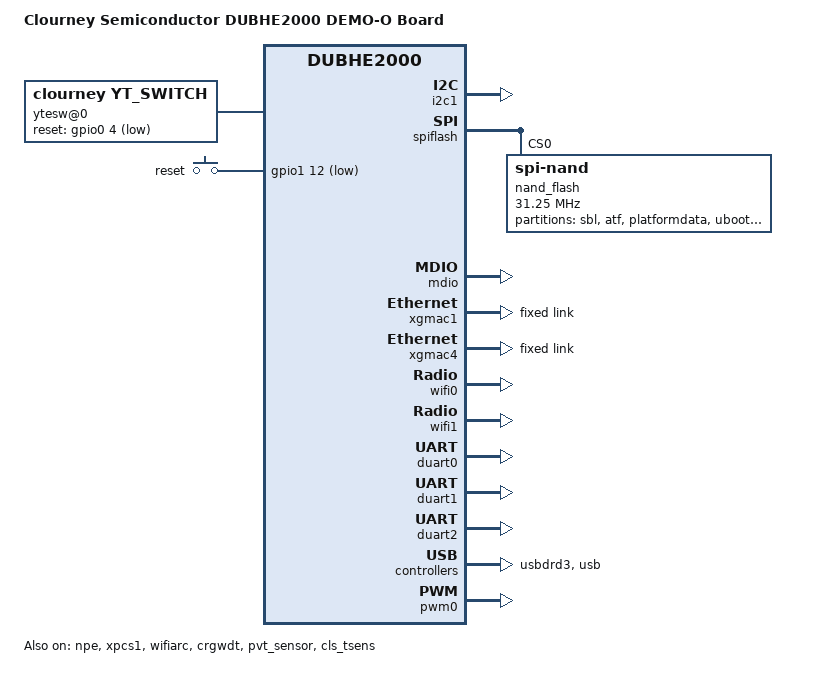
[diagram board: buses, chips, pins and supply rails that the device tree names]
// SPDX-License-Identifier: (GPL-2.0+ OR MIT)
/*
 * Device Tree Include file for Clourney dubhe2000 family SoC.
 *
 * Copyright (C) 2022-2024 Clourney Semiconductor - All Rights Reserved.
 *
 */

/dts-v1/;
#include "clourney-dubhe2000.dtsi"

/ {
	model = "Clourney Semiconductor DUBHE2000 DEMO-O Board";
	compatible = "clsemi,dubhe2000-demo-o", "clsemi,dubhe2000";

	aliases {
		serial0 = &duart1;
		serial1 = &duart2;
		serial2 = &duart0;
		spinand = &spiflash;
		pwm0 = &pwm0;
		pwm1 = &pwm1;
		pwm2 = &pwm2;
		pwm3 = &pwm3;
		pwm4 = &pwm4;
		pwm5 = &pwm5;
		led-boot = &led_system;
		led-failsafe = &led_system;
		led-running = &led_system;
		led-upgrade = &led_system;
	};

	chosen {
		stdout-path = "serial0:115200n8";
	};
	ytesw@0 {
		compatible = "clourney,yt_switch";
		mdio-bus = <&mdio>;
		port-isolation="oooooox";
		/* rgmii. txc delay = txc_2ns_en * 2ns + txc_delay * 0.15ns;rxc delay = rxc_delay * 0.15ns */
		rgmii-rxc_delay = <1>;
		rgmii-txc_delay = <2>;
		rgmii-txc_2ns_en = <1>;
		reset-gpio = <&gpio0 4 GPIO_ACTIVE_LOW>;
	};


};


&i2c1 {
        label = "I2C1";
        status = "okay";
};

&spiflash {
	rx-sample-delay-ns = <8>;
	status = "ok";

	nand_flash: flash@0 {
		compatible = "spi-nand";
		/* Avoid interference with 5G and 2.4G, not setting clk to  41.67MHz  */
		spi-max-frequency = <31250000>;
		reg = <0>;
		#address-cells = <1>;
		#size-cells = <1>;

		/*0.5MB*/
		partition@0 {
			label = "sbl";
			reg = <0x0 0x80000>;
		};

		/*0.5MB*/
		partition@1 {
			label = "atf";
			reg = <0x80000 0x80000>;
		};

		/*1MB*/
		partition@2 {
			label = "platformdata";
			reg = <0x100000 0x100000>;
		};

		/*2MB*/
		partition@3 {
			label = "uboot";
			reg = <0x200000 0x200000>;
		};

		/*1MB*/
		partition@4 {
			label = "caldata";
			reg = <0x400000 0x100000>;
		};

		/*1MB*/
		partition@5 {
			label = "caldata2";
			reg = <0x500000 0x100000>;
		};

		/*1.5MB*/
                partition@6 {
                        label = "ubootenv";
                        reg = <0x600000 0x180000>;
                };

		/*1.5MB*/
                partition@7 {
                        label = "boarddata";
                        reg = <0x780000 0x180000>;
                };

		/*32MB*/
                partition@8 {
                        label = "fw1";
                        reg = <0x900000 0x2000000>;
                };

		/*32MB*/
                partition@9 {
                        label = "fw2";
                        reg = <0x2900000 0x2000000>;
                };

		/*55MB*/
                partition@10 {
                        label = "reserved";
                        reg = <0x4900000 0x3700000>;
                };
	};
};

&npe  {
	status = "ok";
	switch-pause = <4>;
	mdio: mdio {
		compatible = "clourney,mdio";
		#address-cells = <1>;
		#size-cells = <0>;
		device_type = "mdio";
		id = <0>;
		clk_csr = <1>;
		status = "okay";
		regs,phys_reset_init = <0x90410054 0xFFFF 0x6008>;
	};
};
&xpcs0 {
	status = "disabled";
};

&xpcs1 {
	phy-mode = "2500base-x";
	status = "okay";
};

&xgmac0 {
	status = "disabled";
};

&xgmac1 {
	mode = "non-rgmii";
	mac-address = [a0 c0 ab 39 cc f3];
	max-speed = <2500>;
	status = "okay";
	fixed-link {
		speed = <2500>;
		full-duplex;
		pause;
	};
};

&xgmac2 {
        status = "disabled";
};

&xgmac3 {
        status = "disabled";
};

&xgmac4 {
	mode = "rgmii";
	max-speed = <1000>;
	rgmii-rx-delay = <0>;
	rgmii-tx-delay = <2>;
	status = "okay";
	fixed-link {
		speed = <1000>;
		full-duplex;
		pause;
	};
};

&wifi0 { status = "ok"; };

&wifi1 { status = "ok"; };

&wifiarm { status = "disabled"; };

&wifiarc { status = "ok"; };

&crgwdt {
        timeout-sec = <WDT_TIMEOUT_S>;
        status = "ok";
};

//新增SLK-R710 
&duart0 {
	status = "ok";
};
&duart1 {
	status = "ok";
};

&duart2 {
	status = "ok";
};

&gpio_keys {
	reset {
		label = "reset";
		gpios = <&gpio1 12 GPIO_ACTIVE_LOW>; /* gpio1->32, 32 + 12 = 44(GPIO_DR3) */
		linux,code = <KEY_RESTART>;
	};
};

&gpio_leds {
	status = "ok";

	led_system: system {
		label = "led_system";
		gpios = <&gpio1 0 GPIO_ACTIVE_LOW>; /* gpio1->32, 32 + 0 = 32 (GPIO_R14) */
		default-status = "on";
	};

	led_modem: modem {
		label = "modem:5G";
		gpios = <&gpio1 1 GPIO_ACTIVE_LOW>; /* gpio1->0, 32 + 1 = 33 (GPIO_R15) */
		default-status = "off";
	};

	led_wifi2g: wifi_2g {
		label = "wifi:2G";
		gpios = <&gpio0 25 GPIO_ACTIVE_LOW>; /* gpio0->0, 0 + 25 = 25 (GPIO_R7) */
		default-status = "off";
	};
	
	led_wifi5g: wifi_5g {
		label = "wifi:5G";
		gpios = <&gpio0 26 GPIO_ACTIVE_LOW>; /* gpio0->0, 0 + 26 = 26 (GPIO_R8) */
		default-status = "off";
	};
	
	led_rssi1: rssi1 {
		label = "led_rssi1";
		gpios = <&gpio0 27 GPIO_ACTIVE_LOW>; /* gpio0->0, 0 + 27 = 27(GPIO_R9) */
		default-status = "off";
	};

	led_rssi2: rssi2 {
		label = "led_rssi2";
		gpios = <&gpio0 31 GPIO_ACTIVE_LOW>; /* gpio0->0, 0 + 31 = 31(GPIO_R13) */
		default-status = "off";
	};

	led_rssi3: rssi3 {
		label = "led_rssi3";
		gpios = <&gpio0 30 GPIO_ACTIVE_LOW>; /* gpio0->0, 0 + 30 = 30(GPIO_R12) */
		default-status = "off";
	};

	led_rssi4: rssi4 {
		label = "led_rssi4";
		gpios = <&gpio0 24 GPIO_ACTIVE_LOW>; /* gpio0->0, 0 + 24 = 24(GPIO_R6) */
		default-status = "off";
	};
};

&gpio0 { status = "ok"; };

&gpio1 { status = "ok"; };

&usbdrd3 { status = "ok";};

&usb {status = "ok"; };

&pwm0 { status = "ok"; };

&pvt_sensor {
	status = "ok";
        // T2
        temp_rise_alarm2_L = "102000";
        temp_rise_alarm2_H = "110000";
        temp_fall_alarm2_H = "110000";
        temp_fall_alarm2_L = "102000";
        // T0
        temp_rise_alarm0_L = "110000";
        temp_rise_alarm0_H = "118000";
        temp_fall_alarm0_H = "118000";
        temp_fall_alarm0_L = "110000";
        // T1
        temp_rise_alarm1_L = "118000";
        temp_rise_alarm1_H = "126000";
        temp_fall_alarm1_H = "126000";
        temp_fall_alarm1_L = "118000";
};

&cls_tsens {
	status = "ok";
        // T2
        temp_rise_alarm2_L = "102000";
        temp_rise_alarm2_H = "110000";
        temp_fall_alarm2_H = "110000";
        temp_fall_alarm2_L = "102000";
        // T0
        temp_rise_alarm0_L = "110000";
        temp_rise_alarm0_H = "118000";
        temp_fall_alarm0_H = "118000";
        temp_fall_alarm0_L = "110000";
        // T1
        temp_rise_alarm1_L = "118000";
        temp_rise_alarm1_H = "126000";
        temp_fall_alarm1_H = "126000";
        temp_fall_alarm1_L = "118000";
};

